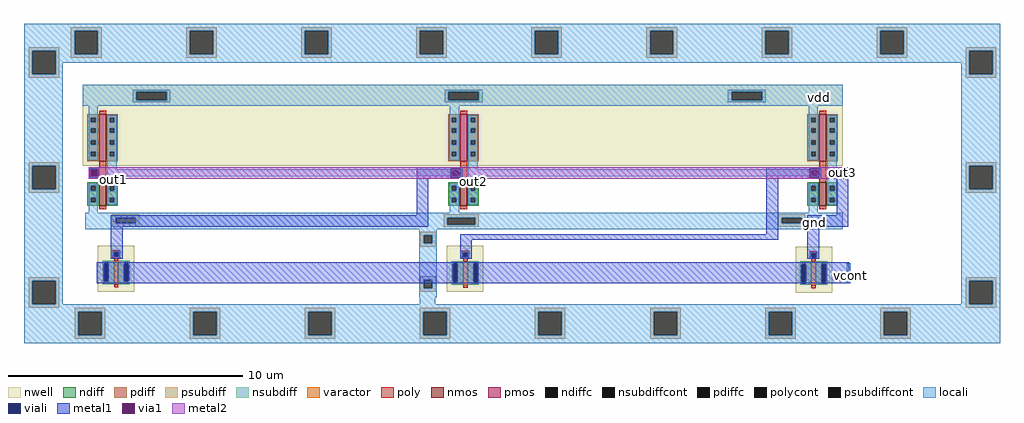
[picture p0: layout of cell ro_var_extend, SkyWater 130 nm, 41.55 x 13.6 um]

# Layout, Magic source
magic
tech sky130A
magscale 1 2
<< nwell >>
rect -250 320 6220 1010
rect -120 -750 190 -360
rect 2850 -750 3160 -360
rect 2858 -752 3160 -750
rect 5820 -760 6130 -370
<< nmos >>
rect -110 -20 -50 180
rect 2964 -20 3024 180
rect 6020 -20 6080 180
<< pmos >>
rect -110 360 -50 760
rect 2964 360 3024 760
rect 6020 360 6080 760
<< varactor >>
rect 17 -688 53 -488
rect 2991 -690 3027 -490
rect 5955 -694 5991 -494
<< ndiff >>
rect -210 150 -110 180
rect -210 110 -180 150
rect -140 110 -110 150
rect -210 50 -110 110
rect -210 10 -180 50
rect -140 10 -110 50
rect -210 -20 -110 10
rect -50 150 50 180
rect -50 110 -20 150
rect 20 110 50 150
rect -50 50 50 110
rect -50 10 -20 50
rect 20 10 50 50
rect -50 -20 50 10
rect 2864 150 2964 180
rect 2864 110 2892 150
rect 2932 110 2964 150
rect 2864 50 2964 110
rect 2864 10 2892 50
rect 2932 10 2964 50
rect 2864 -20 2964 10
rect 3024 150 3124 180
rect 3024 110 3052 150
rect 3092 110 3124 150
rect 3024 50 3124 110
rect 3024 10 3052 50
rect 3092 10 3124 50
rect 3024 -20 3124 10
rect 5920 150 6020 180
rect 5920 110 5952 150
rect 5992 110 6020 150
rect 5920 50 6020 110
rect 5920 10 5952 50
rect 5992 10 6020 50
rect 5920 -20 6020 10
rect 6080 150 6180 180
rect 6080 110 6112 150
rect 6152 110 6180 150
rect 6080 50 6180 110
rect 6080 10 6112 50
rect 6152 10 6180 50
rect 6080 -20 6180 10
<< pdiff >>
rect -210 730 -110 760
rect -210 690 -180 730
rect -140 690 -110 730
rect -210 640 -110 690
rect -210 600 -180 640
rect -140 600 -110 640
rect -210 540 -110 600
rect -210 500 -180 540
rect -140 500 -110 540
rect -210 440 -110 500
rect -210 400 -180 440
rect -140 400 -110 440
rect -210 360 -110 400
rect -50 730 50 760
rect -50 690 -20 730
rect 20 690 50 730
rect -50 640 50 690
rect -50 600 -20 640
rect 20 600 50 640
rect -50 540 50 600
rect -50 500 -20 540
rect 20 500 50 540
rect -50 440 50 500
rect -50 400 -20 440
rect 20 400 50 440
rect -50 360 50 400
rect 2864 730 2964 760
rect 2864 690 2892 730
rect 2932 690 2964 730
rect 2864 640 2964 690
rect 2864 600 2892 640
rect 2932 600 2964 640
rect 2864 540 2964 600
rect 2864 500 2892 540
rect 2932 500 2964 540
rect 2864 440 2964 500
rect 2864 400 2892 440
rect 2932 400 2964 440
rect 2864 360 2964 400
rect 3024 730 3124 760
rect 3024 690 3052 730
rect 3092 690 3124 730
rect 3024 640 3124 690
rect 3024 600 3052 640
rect 3092 600 3124 640
rect 3024 540 3124 600
rect 3024 500 3052 540
rect 3092 500 3124 540
rect 3024 440 3124 500
rect 3024 400 3052 440
rect 3092 400 3124 440
rect 3024 360 3124 400
rect 5920 730 6020 760
rect 5920 690 5952 730
rect 5992 690 6020 730
rect 5920 640 6020 690
rect 5920 600 5952 640
rect 5992 600 6020 640
rect 5920 540 6020 600
rect 5920 500 5952 540
rect 5992 500 6020 540
rect 5920 440 6020 500
rect 5920 400 5952 440
rect 5992 400 6020 440
rect 5920 360 6020 400
rect 6080 730 6180 760
rect 6080 690 6112 730
rect 6152 690 6180 730
rect 6080 640 6180 690
rect 6080 600 6112 640
rect 6152 600 6180 640
rect 6080 540 6180 600
rect 6080 500 6112 540
rect 6152 500 6180 540
rect 6080 440 6180 500
rect 6080 400 6112 440
rect 6152 400 6180 440
rect 6080 360 6180 400
<< ndiffc >>
rect -180 110 -140 150
rect -180 10 -140 50
rect -20 110 20 150
rect -20 10 20 50
rect 2892 110 2932 150
rect 2892 10 2932 50
rect 3052 110 3092 150
rect 3052 10 3092 50
rect 5952 110 5992 150
rect 5952 10 5992 50
rect 6112 110 6152 150
rect 6112 10 6152 50
<< pdiffc >>
rect -180 690 -140 730
rect -180 600 -140 640
rect -180 500 -140 540
rect -180 400 -140 440
rect -20 690 20 730
rect -20 600 20 640
rect -20 500 20 540
rect -20 400 20 440
rect 2892 690 2932 730
rect 2892 600 2932 640
rect 2892 500 2932 540
rect 2892 400 2932 440
rect 3052 690 3092 730
rect 3052 600 3092 640
rect 3052 500 3092 540
rect 3052 400 3092 440
rect 5952 690 5992 730
rect 5952 600 5992 640
rect 5952 500 5992 540
rect 5952 400 5992 440
rect 6112 690 6152 730
rect 6112 600 6152 640
rect 6112 500 6152 540
rect 6112 400 6152 440
<< psubdiff >>
rect -350 1470 -90 1500
rect -710 1300 -450 1330
rect -710 1100 -680 1300
rect -480 1100 -450 1300
rect -350 1270 -320 1470
rect -120 1270 -90 1470
rect -350 1240 -90 1270
rect 630 1470 890 1500
rect 630 1270 660 1470
rect 860 1270 890 1470
rect 630 1240 890 1270
rect 1610 1470 1870 1500
rect 1610 1270 1640 1470
rect 1840 1270 1870 1470
rect 1610 1240 1870 1270
rect 2590 1470 2850 1500
rect 2590 1270 2620 1470
rect 2820 1270 2850 1470
rect 2590 1240 2850 1270
rect 3570 1470 3830 1500
rect 3570 1270 3600 1470
rect 3800 1270 3830 1470
rect 3570 1240 3830 1270
rect 4550 1470 4810 1500
rect 4550 1270 4580 1470
rect 4780 1270 4810 1470
rect 4550 1240 4810 1270
rect 5530 1470 5790 1500
rect 5530 1270 5560 1470
rect 5760 1270 5790 1470
rect 5530 1240 5790 1270
rect 6510 1470 6770 1500
rect 6510 1270 6540 1470
rect 6740 1270 6770 1470
rect 6510 1240 6770 1270
rect 7270 1300 7530 1330
rect -710 1070 -450 1100
rect 7270 1100 7300 1300
rect 7500 1100 7530 1300
rect 7270 1070 7530 1100
rect -710 320 -450 350
rect -710 120 -680 320
rect -480 120 -450 320
rect 7270 320 7530 350
rect -710 90 -450 120
rect 7270 120 7300 320
rect 7500 120 7530 320
rect 7270 90 7530 120
rect 0 -120 230 -90
rect 0 -170 30 -120
rect 200 -170 230 -120
rect 0 -200 230 -170
rect 2824 -120 3124 -90
rect 2824 -180 2854 -120
rect 3094 -180 3124 -120
rect 2824 -200 3124 -180
rect 5670 -120 5900 -90
rect 5670 -170 5700 -120
rect 5870 -170 5900 -120
rect 5670 -200 5900 -170
rect 2624 -270 2754 -240
rect 2624 -340 2654 -270
rect 2724 -340 2754 -270
rect 2624 -370 2754 -340
rect -710 -660 -450 -630
rect -710 -860 -680 -660
rect -480 -860 -450 -660
rect 2624 -650 2754 -620
rect 2624 -720 2654 -650
rect 2724 -720 2754 -650
rect 7270 -660 7530 -630
rect 2624 -750 2754 -720
rect -710 -890 -450 -860
rect 7270 -860 7300 -660
rect 7500 -860 7530 -660
rect 7270 -890 7530 -860
rect -320 -920 -60 -890
rect -320 -1120 -290 -920
rect -90 -1120 -60 -920
rect -320 -1150 -60 -1120
rect 660 -920 920 -890
rect 660 -1120 690 -920
rect 890 -1120 920 -920
rect 660 -1150 920 -1120
rect 1640 -920 1900 -890
rect 1640 -1120 1670 -920
rect 1870 -1120 1900 -920
rect 1640 -1150 1900 -1120
rect 2620 -920 2880 -890
rect 2620 -1120 2650 -920
rect 2850 -1120 2880 -920
rect 2620 -1150 2880 -1120
rect 3600 -920 3860 -890
rect 3600 -1120 3630 -920
rect 3830 -1120 3860 -920
rect 3600 -1150 3860 -1120
rect 4580 -920 4840 -890
rect 4580 -1120 4610 -920
rect 4810 -1120 4840 -920
rect 4580 -1150 4840 -1120
rect 5560 -920 5820 -890
rect 5560 -1120 5590 -920
rect 5790 -1120 5820 -920
rect 5560 -1150 5820 -1120
rect 6540 -920 6800 -890
rect 6540 -1120 6570 -920
rect 6770 -1120 6800 -920
rect 6540 -1150 6800 -1120
<< nsubdiff >>
rect 174 950 494 970
rect 174 880 204 950
rect 464 880 494 950
rect 174 860 494 880
rect 2834 950 3154 970
rect 2834 880 2864 950
rect 3124 880 3154 950
rect 2834 860 3154 880
rect 5244 950 5564 970
rect 5244 880 5274 950
rect 5534 880 5564 950
rect 5244 860 5564 880
rect -80 -512 17 -488
rect -80 -664 -68 -512
rect -34 -664 17 -512
rect -80 -688 17 -664
rect 53 -512 150 -488
rect 53 -664 104 -512
rect 138 -664 150 -512
rect 2894 -514 2991 -490
rect 53 -688 150 -664
rect 2894 -666 2906 -514
rect 2940 -666 2991 -514
rect 2894 -690 2991 -666
rect 3027 -514 3124 -490
rect 3027 -666 3078 -514
rect 3112 -666 3124 -514
rect 3027 -690 3124 -666
rect 5858 -518 5955 -494
rect 5858 -670 5870 -518
rect 5904 -670 5955 -518
rect 5858 -694 5955 -670
rect 5991 -518 6088 -494
rect 5991 -670 6042 -518
rect 6076 -670 6088 -518
rect 5991 -694 6088 -670
<< psubdiffcont >>
rect -680 1100 -480 1300
rect -320 1270 -120 1470
rect 660 1270 860 1470
rect 1640 1270 1840 1470
rect 2620 1270 2820 1470
rect 3600 1270 3800 1470
rect 4580 1270 4780 1470
rect 5560 1270 5760 1470
rect 6540 1270 6740 1470
rect 7300 1100 7500 1300
rect -680 120 -480 320
rect 7300 120 7500 320
rect 30 -170 200 -120
rect 2854 -180 3094 -120
rect 5700 -170 5870 -120
rect 2654 -340 2724 -270
rect -680 -860 -480 -660
rect 2654 -720 2724 -650
rect 7300 -860 7500 -660
rect -290 -1120 -90 -920
rect 690 -1120 890 -920
rect 1670 -1120 1870 -920
rect 2650 -1120 2850 -920
rect 3630 -1120 3830 -920
rect 4610 -1120 4810 -920
rect 5590 -1120 5790 -920
rect 6570 -1120 6770 -920
<< nsubdiffcont >>
rect 204 880 464 950
rect 2864 880 3124 950
rect 5274 880 5534 950
rect -68 -664 -34 -512
rect 104 -664 138 -512
rect 2906 -666 2940 -514
rect 3078 -666 3112 -514
rect 5870 -670 5904 -518
rect 6042 -670 6076 -518
<< poly >>
rect -110 760 -50 790
rect 2964 760 3024 790
rect 6020 760 6080 790
rect -110 300 -50 360
rect 2964 300 3024 360
rect 6020 300 6080 360
rect -190 280 -50 300
rect -190 240 -170 280
rect -130 240 -50 280
rect -190 220 -50 240
rect 2884 280 3024 300
rect 2884 240 2904 280
rect 2944 240 3024 280
rect 2884 220 3024 240
rect 5940 280 6080 300
rect 5940 240 5960 280
rect 6000 240 6080 280
rect 5940 220 6080 240
rect -110 180 -50 220
rect 2964 180 3024 220
rect 6020 180 6080 220
rect -110 -50 -50 -20
rect 2964 -50 3024 -20
rect 6020 -50 6080 -20
rect 2 -416 68 -400
rect 2 -450 18 -416
rect 52 -450 68 -416
rect 2 -466 68 -450
rect 2976 -418 3042 -402
rect 2976 -452 2992 -418
rect 3026 -452 3042 -418
rect 17 -488 53 -466
rect 2976 -468 3042 -452
rect 5940 -422 6006 -406
rect 5940 -456 5956 -422
rect 5990 -456 6006 -422
rect 2991 -490 3027 -468
rect 5940 -472 6006 -456
rect 17 -714 53 -688
rect 5955 -494 5991 -472
rect 2991 -716 3027 -690
rect 5955 -720 5991 -694
<< polycont >>
rect -170 240 -130 280
rect 2904 240 2944 280
rect 5960 240 6000 280
rect 18 -450 52 -416
rect 2992 -452 3026 -418
rect 5956 -456 5990 -422
<< locali >>
rect -750 1470 7560 1530
rect -750 1300 -320 1470
rect -750 1100 -680 1300
rect -480 1270 -320 1300
rect -120 1270 660 1470
rect 860 1270 1640 1470
rect 1840 1270 2620 1470
rect 2820 1270 3600 1470
rect 3800 1270 4580 1470
rect 4780 1270 5560 1470
rect 5760 1270 6540 1470
rect 6740 1300 7560 1470
rect 6740 1270 7300 1300
rect -480 1200 7300 1270
rect -480 1100 -420 1200
rect -750 320 -420 1100
rect 7230 1100 7300 1200
rect 7500 1100 7560 1300
rect -250 950 6220 1010
rect -250 880 204 950
rect 464 880 2864 950
rect 3124 880 5274 950
rect 5534 880 6220 950
rect -250 830 6220 880
rect -200 730 -120 830
rect 2874 750 2954 830
rect 5930 750 6010 830
rect -200 690 -180 730
rect -140 690 -120 730
rect -200 640 -120 690
rect -200 600 -180 640
rect -140 600 -120 640
rect -200 540 -120 600
rect -200 500 -180 540
rect -140 500 -120 540
rect -200 440 -120 500
rect -200 400 -180 440
rect -140 400 -120 440
rect -200 370 -120 400
rect -40 730 40 750
rect -40 690 -20 730
rect 20 690 40 730
rect -40 640 40 690
rect -40 600 -20 640
rect 20 600 40 640
rect -40 540 40 600
rect -40 500 -20 540
rect 20 500 40 540
rect -40 440 40 500
rect -40 400 -20 440
rect 20 400 40 440
rect -750 120 -680 320
rect -480 120 -420 320
rect -190 290 -110 300
rect -190 230 -180 290
rect -120 230 -110 290
rect -190 220 -110 230
rect -40 290 40 400
rect 2872 730 2954 750
rect 2872 690 2892 730
rect 2932 690 2954 730
rect 2872 640 2954 690
rect 2872 600 2892 640
rect 2932 600 2954 640
rect 2872 540 2954 600
rect 2872 500 2892 540
rect 2932 500 2954 540
rect 2872 440 2954 500
rect 2872 400 2892 440
rect 2932 400 2954 440
rect 2872 370 2954 400
rect 3032 730 3114 750
rect 3032 690 3052 730
rect 3092 690 3114 730
rect 3032 640 3114 690
rect 3032 600 3052 640
rect 3092 600 3114 640
rect 3032 540 3114 600
rect 3032 500 3052 540
rect 3092 500 3114 540
rect 3032 440 3114 500
rect 3032 400 3052 440
rect 3092 400 3114 440
rect 3032 370 3114 400
rect 5930 730 6012 750
rect 5930 690 5952 730
rect 5992 690 6012 730
rect 5930 640 6012 690
rect 5930 600 5952 640
rect 5992 600 6012 640
rect 5930 540 6012 600
rect 5930 500 5952 540
rect 5992 500 6012 540
rect 5930 440 6012 500
rect 5930 400 5952 440
rect 5992 400 6012 440
rect 5930 370 6012 400
rect 6090 730 6172 750
rect 6090 690 6112 730
rect 6152 690 6172 730
rect 6090 640 6172 690
rect 6090 600 6112 640
rect 6152 600 6172 640
rect 6090 540 6172 600
rect 6090 500 6112 540
rect 6152 500 6172 540
rect 6090 440 6172 500
rect 6090 400 6112 440
rect 6152 400 6172 440
rect 6090 370 6172 400
rect -40 230 2884 290
rect -750 -660 -420 120
rect -200 150 -120 170
rect -200 110 -180 150
rect -140 110 -120 150
rect -200 50 -120 110
rect -200 10 -180 50
rect -140 10 -120 50
rect -200 -80 -120 10
rect -40 150 40 230
rect 3034 290 3114 370
rect 6090 310 6170 370
rect 7230 320 7560 1100
rect 3034 230 5940 290
rect 3034 170 3114 230
rect 6090 210 6190 310
rect 6090 170 6170 210
rect -40 110 -20 150
rect 20 110 40 150
rect -40 50 40 110
rect -40 10 -20 50
rect 20 10 40 50
rect -40 -10 40 10
rect 2872 150 2954 170
rect 2872 110 2892 150
rect 2932 110 2954 150
rect 2872 50 2954 110
rect 2872 10 2892 50
rect 2932 10 2954 50
rect 2872 -10 2954 10
rect 3032 150 3114 170
rect 3032 110 3052 150
rect 3092 110 3114 150
rect 3032 50 3114 110
rect 3032 10 3052 50
rect 3092 10 3114 50
rect 3032 -10 3114 10
rect 5930 150 6012 170
rect 5930 110 5952 150
rect 5992 110 6012 150
rect 5930 50 6012 110
rect 5930 10 5952 50
rect 5992 10 6012 50
rect 5930 -10 6012 10
rect 6090 150 6172 170
rect 6090 110 6112 150
rect 6152 110 6172 150
rect 6090 50 6172 110
rect 6090 10 6112 50
rect 6152 10 6172 50
rect 6090 -10 6172 10
rect 7230 120 7300 320
rect 7500 120 7560 320
rect 2874 -80 2954 -10
rect 5930 -80 6010 -10
rect -230 -120 6220 -80
rect -230 -170 30 -120
rect 200 -170 2854 -120
rect -230 -180 2854 -170
rect 3094 -170 5700 -120
rect 5870 -170 6220 -120
rect 3094 -180 6220 -170
rect -230 -220 6220 -180
rect 2614 -270 2764 -220
rect 2614 -340 2654 -270
rect 2724 -340 2764 -270
rect 2 -450 18 -416
rect 52 -450 68 -416
rect -750 -860 -680 -660
rect -480 -860 -420 -660
rect -68 -512 -34 -496
rect -68 -680 -34 -664
rect 104 -512 138 -496
rect 104 -680 138 -664
rect 2614 -650 2764 -340
rect 2976 -452 2992 -418
rect 3026 -452 3042 -418
rect 5940 -456 5956 -422
rect 5990 -456 6006 -422
rect 2614 -720 2654 -650
rect 2724 -720 2764 -650
rect 2906 -514 2940 -498
rect 2906 -682 2940 -666
rect 3078 -514 3112 -498
rect 3078 -682 3112 -666
rect 5870 -518 5904 -502
rect 5870 -686 5904 -670
rect 6042 -518 6076 -502
rect 6042 -686 6076 -670
rect 6256 -680 6290 -510
rect 7230 -660 7560 120
rect 2614 -800 2764 -720
rect 2620 -860 2750 -800
rect 7230 -860 7300 -660
rect 7500 -860 7560 -660
rect -750 -920 7560 -860
rect -750 -1120 -290 -920
rect -90 -1120 690 -920
rect 890 -1120 1670 -920
rect 1870 -1120 2650 -920
rect 2850 -1120 3630 -920
rect 3830 -1120 4610 -920
rect 4810 -1120 5590 -920
rect 5790 -1120 6570 -920
rect 6770 -1120 7560 -920
rect -750 -1190 7560 -1120
<< viali >>
rect -180 280 -120 290
rect -180 240 -170 280
rect -170 240 -130 280
rect -130 240 -120 280
rect -180 230 -120 240
rect 2884 280 2964 300
rect 2884 240 2904 280
rect 2904 240 2944 280
rect 2944 240 2964 280
rect 2884 220 2964 240
rect 5940 280 6020 300
rect 5940 240 5960 280
rect 5960 240 6000 280
rect 6000 240 6020 280
rect 5940 220 6020 240
rect 6190 230 6250 290
rect 18 -450 52 -416
rect -68 -664 -34 -512
rect 104 -664 138 -512
rect 2992 -452 3026 -418
rect 5956 -456 5990 -422
rect 2906 -666 2940 -514
rect 3078 -666 3112 -514
rect 5870 -670 5904 -518
rect 6042 -670 6076 -518
<< metal1 >>
rect -200 290 -110 310
rect -200 230 -180 290
rect -120 230 -110 290
rect -200 210 -110 230
rect 2594 300 2984 310
rect 2594 220 2884 300
rect 2964 220 2984 300
rect 2594 210 2984 220
rect 5570 300 6040 310
rect 5570 220 5940 300
rect 6020 220 6040 300
rect 5570 210 6040 220
rect 6170 290 6270 310
rect 6170 230 6190 290
rect 6250 230 6270 290
rect 2594 -100 2694 210
rect -10 -200 2694 -100
rect -10 -416 90 -200
rect 5570 -260 5670 210
rect 6170 170 6270 230
rect 6172 -10 6270 170
rect 6170 -100 6270 -10
rect -10 -450 18 -416
rect 52 -450 90 -416
rect -10 -470 90 -450
rect 2964 -308 5670 -260
rect 5920 -200 6270 -100
rect 2964 -418 3064 -308
rect 2964 -452 2992 -418
rect 3026 -452 3064 -418
rect 2964 -470 3064 -452
rect 5920 -422 6020 -200
rect 5920 -456 5956 -422
rect 5990 -456 6020 -422
rect 5920 -470 6020 -456
rect -130 -512 6276 -500
rect -130 -664 -68 -512
rect -34 -664 104 -512
rect 138 -514 6276 -512
rect 138 -664 2906 -514
rect -130 -666 2906 -664
rect 2940 -666 3078 -514
rect 3112 -518 6276 -514
rect 3112 -666 5870 -518
rect -130 -670 5870 -666
rect 5904 -670 6042 -518
rect 6076 -670 6276 -518
rect -130 -680 6276 -670
rect 5864 -682 5910 -680
rect 6036 -682 6082 -680
<< via1 >>
rect -180 230 -120 290
rect 6190 230 6250 290
<< metal2 >>
rect -200 290 6270 310
rect -200 230 -180 290
rect -120 230 6190 290
rect 6250 230 6270 290
rect -200 210 6270 230
<< labels >>
rlabel locali 10 200 10 200 1 out1
rlabel locali 3074 190 3074 190 1 out2
rlabel locali 5980 -160 5980 -160 1 gnd
rlabel viali 6220 260 6220 260 1 out3
rlabel locali 6130 190 6130 190 1 out3
rlabel locali 6286 -610 6286 -610 1 vcont
rlabel locali 6020 900 6020 900 1 vdd
<< end >>
